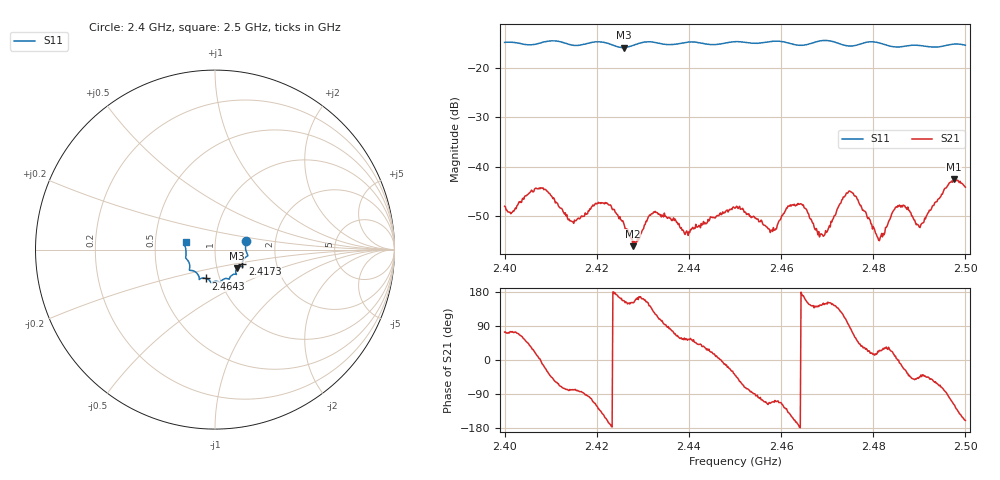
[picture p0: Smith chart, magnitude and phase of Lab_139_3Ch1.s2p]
# Hz S RI R 50
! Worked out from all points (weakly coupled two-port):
!   601 points, 2.4 GHz to 2.5 GHz, reference 50 ohm
!   highest |S21| = -42.57 dB at 2.4975 GHz (marker M1); lowest = -56.1 dB at 2.4278 GHz (marker M2)
!   lowest |S11| = -15.9 dB at 2.4258 GHz (marker M3), VSWR 1.38, Z = 62.3 - j13.2 ohm
!   |S11| at or under -10 dB: start of sweep to end of sweep
!   S12 and S22 are empty: the file has one direction only
!   S11 on the Smith chart (normalised r, x): 2.4 GHz: 1.41, +0.14; 2.4173 GHz: 1.34, -0.23; 2.4643 GHz: 0.86, -0.28; 2.5 GHz: 0.72, +0.06
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2.4e9  0.1732 0.0496  0.00111 0.00382  0 0  0 0
2.407833e9  0.1772 -0.0193  0.00611 -0.000117  0 0  0 0
2.414167e9  0.1645 -0.048  0.000605 -0.00276  0 0  0 0
2.416667e9  0.1529 -0.0746  0.000378 -0.00314  0 0  0 0
2.417333e9  0.1523 -0.082  5.4e-05 -0.00316  0 0  0 0
2.421833e9  0.1522 -0.0947  -0.00385 -0.00197  0 0  0 0
2.425833e9  0.1215 -0.1036  -0.00247 0.00105  0 0  0 0
2.427833e9  0.1151 -0.122  -0.00137 0.000756  0 0  0 0
2.433333e9  0.1128 -0.1368  -0.00122 0.00307  0 0  0 0
2.4395e9  0.0804 -0.1617  0.00127 0.00184  0 0  0 0
2.45e9  0.0295 -0.1809  0.0029 -0.00244  0 0  0 0
2.458167e9  -0.0193 -0.1838  -0.000771 -0.00207  0 0  0 0
2.464333e9  -0.0504 -0.1605  -0.0042 7.36e-05  0 0  0 0
2.466667e9  -0.0761 -0.1598  -0.00224 0.00169  0 0  0 0
2.4695e9  -0.0878 -0.1667  -0.00175 0.00108  0 0  0 0
2.475e9  -0.1065 -0.1263  0.000567 0.00559  0 0  0 0
2.481e9  -0.1423 -0.1091  0.00176 0.000758  0 0  0 0
2.483333e9  -0.1406 -0.0895  0.00231 0.00154  0 0  0 0
2.486167e9  -0.1508 -0.0617  0.00389 -0.00105  0 0  0 0
2.490333e9  -0.1625 -0.0394  0.00199 -0.00165  0 0  0 0
2.4975e9  -0.1708 0.0294  -0.00342 -0.00661  0 0  0 0
2.5e9  -0.1634 0.042  -0.00579 -0.00218  0 0  0 0
